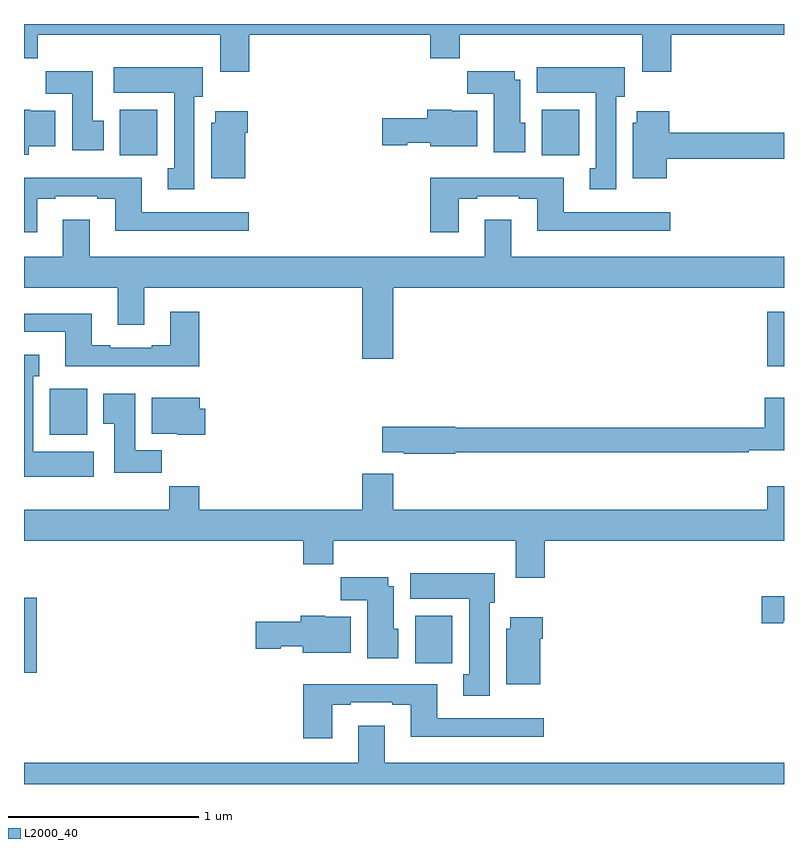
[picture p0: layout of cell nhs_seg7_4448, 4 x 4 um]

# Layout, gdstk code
import gdstk
lib = gdstk.Library(unit=1e-6, precision=1e-09)
def R(c, l, rs):  # rectangles x0, y0, x1, y1
    for r in rs: c.add(gdstk.rectangle(r[:2], r[2:], *l))
def P(c, l, *ps):  # polygons
    for p in ps: c.add(gdstk.Polygon(p, *l))
L2000_40 = (2000, 40)

nhs_seg7_4448 = lib.new_cell('nhs_seg7_4448')
R(nhs_seg7_4448, L2000_40, [(391,1002.585,391.067,1002.979), (393.059,1002.636,393.255,1002.886), (391.136,1003.838,391.333,1004.08), (394.913,1004.198,395,1004.485), (391.505,1005.308,391.702,1005.55), (393.725,1005.308,393.922,1005.55)])
P(nhs_seg7_4448, L2000_40, [(393.137,1005.82),(393.293,1005.82),(393.293,1005.944),(394.253,1005.944),(394.253,1005.75),(394.406,1005.75),(394.406,1005.944),(395,1005.944),(395,1006),(391,1006),(391,1005.82),(391.073,1005.82),(391.073,1005.944),(392.033,1005.944),(392.033,1005.75),(392.186,1005.75),(392.186,1005.944),(393.137,1005.944)],
  [(391.897,1005.618),(391.942,1005.618),(391.942,1005.772),(391.473,1005.772),(391.473,1005.638),(391.79,1005.638),(391.79,1005.242),(391.757,1005.242),(391.757,1005.129),(391.897,1005.129)],
  [(394.117,1005.618),(394.162,1005.618),(394.162,1005.772),(393.698,1005.772),(393.698,1005.638),(394.01,1005.638),(394.01,1005.242),(393.977,1005.242),(393.977,1005.129),(394.117,1005.129)],
  [(391.42,1005.492),(391.363,1005.492),(391.363,1005.751),(391.114,1005.751),(391.114,1005.632),(391.253,1005.632),(391.253,1005.336),(391.42,1005.336)],
  [(393.637,1005.48),(393.613,1005.48),(393.613,1005.706),(393.583,1005.706),(393.583,1005.751),(393.334,1005.751),(393.334,1005.632),(393.473,1005.632),(393.473,1005.326),(393.637,1005.326)],
  [(393.385,1005.544),(393.252,1005.544),(393.252,1005.55),(393.122,1005.55),(393.122,1005.504),(392.886,1005.504),(392.886,1005.362),(393.018,1005.362),(393.018,1005.374),(393.138,1005.374),(393.138,1005.356),(393.385,1005.356)],
  [(391.024,1005.356),(391.165,1005.356),(391.165,1005.544),(391.032,1005.544),(391.032,1005.55),(391,1005.55),(391,1005.312),(391.024,1005.312)],
  [(392.164,1005.428),(392.177,1005.428),(392.177,1005.541),(392.006,1005.541),(392.006,1005.48),(391.985,1005.48),(391.985,1005.188),(392.164,1005.188)],
  [(394.384,1005.292),(395,1005.292),(395,1005.428),(394.397,1005.428),(394.397,1005.541),(394.226,1005.541),(394.226,1005.48),(394.205,1005.48),(394.205,1005.188),(394.384,1005.188)],
  [(393.289,1005.081),(393.385,1005.081),(393.385,1005.093),(393.605,1005.093),(393.605,1005.081),(393.701,1005.081),(393.701,1004.912),(394.402,1004.912),(394.402,1005.009),(393.841,1005.009),(393.841,1005.19),(393.137,1005.19),(393.137,1004.904),(393.289,1004.904)],
  [(391.069,1005.081),(391.165,1005.081),(391.165,1005.093),(391.385,1005.093),(391.385,1005.081),(391.481,1005.081),(391.481,1004.912),(392.182,1004.912),(392.182,1005.009),(391.621,1005.009),(391.621,1005.19),(391,1005.19),(391,1004.904),(391.069,1004.904)],
  [(392.944,1004.612),(395,1004.612),(395,1004.776),(393.565,1004.776),(393.565,1004.971),(393.425,1004.971),(393.425,1004.776),(391.345,1004.776),(391.345,1004.971),(391.205,1004.971),(391.205,1004.776),(391,1004.776),(391,1004.612),(391.493,1004.612),(391.493,1004.418),(391.633,1004.418),(391.633,1004.612),(392.78,1004.612),(392.78,1004.238),(392.944,1004.238)],
  [(391.922,1004.485),(391.769,1004.485),(391.769,1004.308),(391.673,1004.308),(391.673,1004.295),(391.453,1004.295),(391.453,1004.308),(391.357,1004.308),(391.357,1004.476),(391,1004.476),(391,1004.379),(391.217,1004.379),(391.217,1004.198),(391.922,1004.198)],
  [(391.366,1003.75),(391.048,1003.75),(391.048,1004.147),(391.081,1004.147),(391.081,1004.26),(391,1004.26),(391,1003.616),(391.366,1003.616)],
  [(391.724,1003.756),(391.585,1003.756),(391.585,1004.053),(391.418,1004.053),(391.418,1003.897),(391.475,1003.897),(391.475,1003.638),(391.724,1003.638)],
  [(391.955,1003.974),(391.924,1003.974),(391.924,1004.032),(391.673,1004.032),(391.673,1003.844),(391.806,1003.844),(391.806,1003.838),(391.955,1003.838)],
  [(393.27,1003.746),(394.814,1003.746),(394.814,1003.757),(395,1003.757),(395,1004.032),(394.898,1004.032),(394.898,1003.874),(393.27,1003.874),(393.27,1003.88),(392.886,1003.88),(392.886,1003.745),(392.998,1003.745),(392.998,1003.738),(393.27,1003.738)],
  [(393.74,1003.28),(395,1003.28),(395,1003.568),(394.913,1003.568),(394.913,1003.444),(392.944,1003.444),(392.944,1003.633),(392.78,1003.633),(392.78,1003.444),(391.922,1003.444),(391.922,1003.568),(391.765,1003.568),(391.765,1003.444),(391,1003.444),(391,1003.28),(392.471,1003.28),(392.471,1003.156),(392.627,1003.156),(392.627,1003.28),(393.587,1003.28),(393.587,1003.086),(393.74,1003.086)],
  [(393.451,1002.954),(393.478,1002.954),(393.478,1003.108),(393.032,1003.108),(393.032,1002.974),(393.344,1002.974),(393.344,1002.577),(393.311,1002.577),(393.311,1002.465),(393.451,1002.465)],
  [(392.971,1002.816),(392.947,1002.816),(392.947,1003.042),(392.917,1003.042),(392.917,1003.087),(392.668,1003.087),(392.668,1002.968),(392.807,1002.968),(392.807,1002.662),(392.971,1002.662)],
  [(394.996,1002.857),(395,1002.857),(395,1002.987),(394.884,1002.987),(394.884,1002.845),(394.996,1002.845)],
  [(392.719,1002.88),(392.586,1002.88),(392.586,1002.886),(392.456,1002.886),(392.456,1002.855),(392.22,1002.855),(392.22,1002.713),(392.352,1002.713),(392.352,1002.725),(392.468,1002.725),(392.468,1002.692),(392.719,1002.692)],
  [(393.718,1002.764),(393.731,1002.764),(393.731,1002.877),(393.56,1002.877),(393.56,1002.816),(393.539,1002.816),(393.539,1002.524),(393.718,1002.524)],
  [(392.623,1002.417),(392.719,1002.417),(392.719,1002.429),(392.939,1002.429),(392.939,1002.417),(393.035,1002.417),(393.035,1002.248),(393.736,1002.248),(393.736,1002.345),(393.175,1002.345),(393.175,1002.526),(392.471,1002.526),(392.471,1002.24),(392.623,1002.24)],
  [(392.759,1002.112),(391,1002.112),(391,1002),(395,1002),(395,1002.112),(392.899,1002.112),(392.899,1002.307),(392.759,1002.307)])

lib.write_gds('nhs_seg7_4448.gds')
